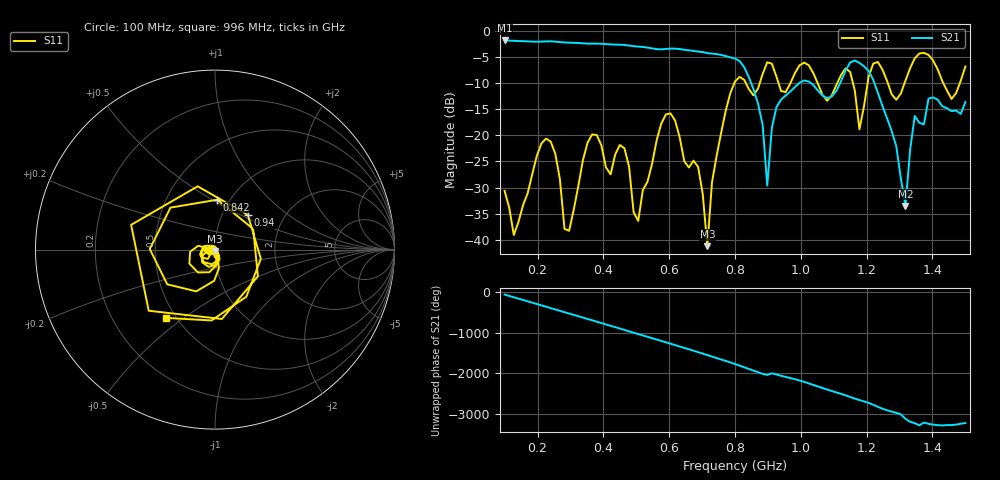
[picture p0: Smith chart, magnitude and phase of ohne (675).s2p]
! NanoVNA-App
! Date: 2025-09-25 14:26:03
! Start: 100MHz Stop: 1,5GHz Points: 101
! S-Parameter data: F S11 S21 S12 S22
# Hz S RI R 50
!  Frequency  S11_Real  S11_Imag  S21_Real  S21_Imag  S12_Real  S12_Imag  S22_Real  S22_Imag
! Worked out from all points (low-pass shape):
!   101 points, 100 MHz to 1.5 GHz, reference 50 ohm
!   highest |S21| = -1.79 dB at 100 MHz (marker M1); lowest = -33.5 dB at 1.318 GHz (marker M2)
!   |S21| within 3 dB of the highest: start of sweep to 772 MHz
!   lowest |S11| = -41.2 dB at 716 MHz (marker M3), VSWR 1.02, Z = 49.8 - j0.832 ohm
!   |S11| at or under -10 dB: start of sweep to 797.8 MHz; 833.2 MHz to 875 MHz (41.85 MHz wide, 4.9 % of centre); 1.051 GHz to 1.111 GHz (59.23 MHz wide, 5.48 % of centre) (the widest 3 of 7)
!   S12 and S22 are empty: the file has one direction only
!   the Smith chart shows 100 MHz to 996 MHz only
!   S11 on the Smith chart (normalised r, x): 100 MHz: 0.94, -0.01; 842 MHz: 0.88, +0.53; 940 MHz: 1.32, +0.55; 996 MHz: 0.44, -0.43
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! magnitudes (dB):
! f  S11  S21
! 100 MHz  -30.6  -1.8
! 128 MHz  -39.1  -1.9
! 226 MHz  -20.6  -2.0
! 296 MHz  -38.3  -2.2
! 338 MHz  -24.7  -2.3
! 464 MHz  -22.5  -2.7
! 506 MHz  -36.4  -3.0
! 576 MHz  -17.7  -3.5
! 688 MHz  -26.0  -3.9
! 716 MHz  -41.2  -4.2
! 800 MHz  -9.7  -5.3
! 842 MHz  -11.1  -8.8
! 898 MHz  -6.0  -29.6
! 940 MHz  -11.5  -13.1
! 996 MHz  -6.6  -9.9
! 1.038 GHz  -8.1  -10.3
! 1.178 GHz  -18.8  -6.1
! 1.22 GHz  -6.2  -9.3
! 1.276 GHz  -12.1  -19.2
! 1.318 GHz  -9.5  -33.5
! 1.346 GHz  -5.2  -16.3
! 1.5 GHz  -6.8  -13.6
